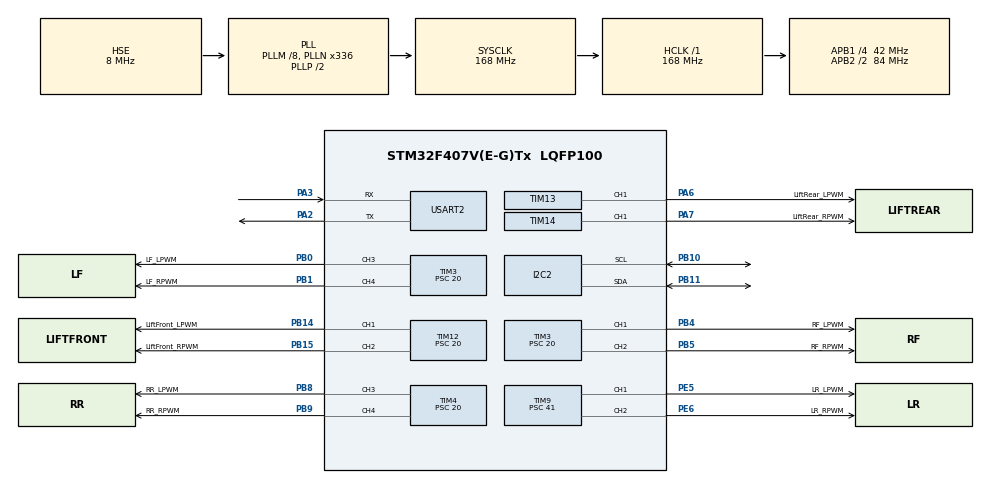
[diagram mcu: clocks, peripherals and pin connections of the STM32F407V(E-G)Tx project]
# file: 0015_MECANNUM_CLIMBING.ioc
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Mcu.Family=STM32F4
Mcu.Name=STM32F407V(E-G)Tx
Mcu.Package=LQFP100
NVIC.PriorityGroup=NVIC_PRIORITYGROUP_0
PA2.Mode=Asynchronous
PA2.Signal=USART2_TX
PA3.Mode=Asynchronous
PA3.Signal=USART2_RX
PA6.GPIO_Label=LiftRear_LPWM
PA6.Signal=S_TIM13_CH1
PA7.GPIO_Label=LiftRear_RPWM
PA7.Signal=S_TIM14_CH1
PB0.GPIO_Label=LF_LPWM
PB0.Signal=S_TIM3_CH3
PB1.GPIO_Label=LF_RPWM
PB1.Signal=S_TIM3_CH4
PB10.GPIO_Pu=GPIO_PULLUP
PB10.Mode=I2C
PB10.Signal=I2C2_SCL
PB11.GPIO_Pu=GPIO_PULLUP
PB11.Mode=I2C
PB11.Signal=I2C2_SDA
PB14.GPIO_Label=LiftFront_LPWM
PB14.Signal=S_TIM12_CH1
PB15.GPIO_Label=LiftFront_RPWM
PB15.Signal=S_TIM12_CH2
PB4.GPIO_Label=RF_LPWM
PB4.Signal=S_TIM3_CH1
PB5.GPIO_Label=RF_RPWM
PB5.Signal=S_TIM3_CH2
PB8.GPIO_Label=RR_LPWM
PB8.Signal=S_TIM4_CH3
PB9.GPIO_Label=RR_RPWM
PB9.Signal=S_TIM4_CH4
PE5.GPIO_Label=LR_LPWM
PE5.Signal=S_TIM9_CH1
PE6.GPIO_Label=LR_RPWM
PE6.Signal=S_TIM9_CH2
ProjectManager.HeapSize=0x200
ProjectManager.StackSize=0x400
ProjectManager.TargetToolchain=STM32CubeIDE
RCC.48MHZClocksFreq_Value=48000000
RCC.AHBFreq_Value=168000000
RCC.APB1CLKDivider=RCC_HCLK_DIV4
RCC.APB1Freq_Value=42000000
RCC.APB1TimFreq_Value=84000000
RCC.APB2CLKDivider=RCC_HCLK_DIV2
RCC.APB2Freq_Value=84000000
RCC.APB2TimFreq_Value=168000000
RCC.CortexFreq_Value=168000000
RCC.HCLKFreq_Value=168000000
RCC.HSE_VALUE=8000000
RCC.HSI_VALUE=16000000
RCC.LSE_VALUE=32768
RCC.PLLM=8
RCC.PLLN=336
RCC.PLLQ=7
RCC.PLLSourceVirtual=RCC_PLLSOURCE_HSE
RCC.SYSCLKFreq_VALUE=168000000
RCC.SYSCLKSource=RCC_SYSCLKSOURCE_PLLCLK
RCC.VCOOutputFreq_Value=336000000
SH.S_TIM12_CH1.0=TIM12_CH1,PWM Generation1 CH1
SH.S_TIM12_CH2.0=TIM12_CH2,PWM Generation2 CH2
SH.S_TIM13_CH1.0=TIM13_CH1,PWM Generation1 CH1
SH.S_TIM14_CH1.0=TIM14_CH1,PWM Generation1 CH1
SH.S_TIM3_CH1.0=TIM3_CH1,PWM Generation1 CH1
SH.S_TIM3_CH2.0=TIM3_CH2,PWM Generation2 CH2
SH.S_TIM3_CH3.0=TIM3_CH3,PWM Generation3 CH3
SH.S_TIM3_CH4.0=TIM3_CH4,PWM Generation4 CH4
SH.S_TIM4_CH3.0=TIM4_CH3,PWM Generation3 CH3
SH.S_TIM4_CH4.0=TIM4_CH4,PWM Generation4 CH4
SH.S_TIM9_CH1.0=TIM9_CH1,PWM Generation1 CH1
SH.S_TIM9_CH2.0=TIM9_CH2,PWM Generation2 CH2
TIM12.Channel-PWM\ Generation1\ CH1=TIM_CHANNEL_1
TIM12.Channel-PWM\ Generation2\ CH2=TIM_CHANNEL_2
TIM12.Period=99
TIM12.Prescaler=20
TIM13.Channel=TIM_CHANNEL_1
TIM13.Period=99
TIM13.Prescaler=20
TIM14.Channel=TIM_CHANNEL_1
TIM14.Period=99
TIM14.Prescaler=20
TIM3.Channel-PWM\ Generation1\ CH1=TIM_CHANNEL_1
TIM3.Channel-PWM\ Generation2\ CH2=TIM_CHANNEL_2
TIM3.Channel-PWM\ Generation3\ CH3=TIM_CHANNEL_3
TIM3.Channel-PWM\ Generation4\ CH4=TIM_CHANNEL_4
TIM3.Period=99
TIM3.Prescaler=20
TIM4.Channel-PWM\ Generation3\ CH3=TIM_CHANNEL_3
TIM4.Channel-PWM\ Generation4\ CH4=TIM_CHANNEL_4
TIM4.Period=99
TIM4.Prescaler=20
TIM9.Channel-PWM\ Generation1\ CH1=TIM_CHANNEL_1
TIM9.Channel-PWM\ Generation2\ CH2=TIM_CHANNEL_2
TIM9.Period=99
TIM9.Prescaler=41
USART2.VirtualMode=VM_ASYNC
VP_TIM13_VS_ClockSourceINT.Mode=Enable_Timer
VP_TIM14_VS_ClockSourceINT.Mode=Enable_Timer
board=STM32F407G-DISC1

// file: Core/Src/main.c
/* USER CODE BEGIN Header */
/**
  ******************************************************************************
  * @file           : main.c
  * @brief          : Main program body
  ******************************************************************************
  * @attention
  *
  * Copyright (c) 2026 STMicroelectronics.
  * All rights reserved.
  *
  * This software is licensed under terms that can be found in the LICENSE file
  * in the root directory of this software component.
  * If no LICENSE file comes with this software, it is provided AS-IS.
  *
  ******************************************************************************
  */
/* USER CODE END Header */
#include "main.h"

/* USER CODE BEGIN Includes */
#include <stdlib.h>
#include <stdbool.h>
#include <string.h>
#include <stdio.h>
#include <math.h>

/* USER CODE END Includes */

/* USER CODE BEGIN PD */
#define CHASSIS_PWM 50
#define CLIMBING_PWM 50
#define STOP_PWM 0
#define maxPWM 60
/* USER CODE END PD */

I2C_HandleTypeDef hi2c2;

TIM_HandleTypeDef htim3;
TIM_HandleTypeDef htim4;
TIM_HandleTypeDef htim9;
TIM_HandleTypeDef htim12;
TIM_HandleTypeDef htim13;
TIM_HandleTypeDef htim14;

UART_HandleTypeDef huart2;

/* USER CODE BEGIN PV */

// MOTOR VARIABLES FOR CCR REGISTERS
volatile uint32_t *const LF_LPWM_REG = &(TIM3->CCR3);
volatile uint32_t *const LF_RPWM_REG = &(TIM3->CCR4);

volatile uint32_t *const RF_LPWM_REG = &(TIM3->CCR2);
volatile uint32_t *const RF_RPWM_REG = &(TIM3->CCR1);

volatile uint32_t *const LR_LPWM_REG = &(TIM9->CCR1);
volatile uint32_t *const LR_RPWM_REG = &(TIM9->CCR2);

volatile uint32_t *const RR_LPWM_REG = &(TIM4->CCR3);
volatile uint32_t *const RR_RPWM_REG = &(TIM4->CCR4);

volatile uint32_t *const upFront_LPWM_REG = &(TIM12->CCR1);
volatile uint32_t *const upFront_RPWM_REG = &(TIM12->CCR2);

volatile uint32_t *const upRear_LPWM_REG = &(TIM13->CCR1);
volatile uint32_t *const upRear_RPWM_REG = &(TIM14->CCR1);

// MOTOR VARIABLES FOR TIMER CHANNELS
#define LF_LPWM 3
#define LF_RPWM 4
#define RF_LPWM 2
#define RF_RPWM 1
#define LR_LPWM 1
#define LR_RPWM 2
#define RR_LPWM 3
#define RR_RPWM 4

#define upFront_LPWM 1
#define upFront_RPWM 2
#define upRear_LPWM  1
#define upRear_RPWM  1

// DATA VARIABLES
#define buffer 10
#define arraySize 5
#define slaveAddr 0x08
uint8_t receivedData[arraySize] = { 0 }; //LX LY L2 R2 Button (LB, LF, LR, DB, 0, 0, 0, 0)
int8_t lx = 0, ly = 0;
uint8_t l2 = 0, r2 = 0;

// NAVIGATION VARIABLES
#define constVector 1
int16_t wLF = 0, wRF = 0, wLR = 0, wRR = 0;
int16_t Vx = 0, Vy = 0;
int16_t VxG = 0, VyG = 0;
int16_t omega = 0;

// CLIMBING VARIABLES
bool upBoth  = false;
bool upFront = false;
bool upRear  = false;
bool downBoth  = false;
bool downFront = false;
bool downRear  = false;

//typedef enum{
//	climbStop = 0,
//	climbUpBoth,
//	climbUpFront,
//	climbUpRear,
//	climbDownBoth,
//	climbDownFront,
//	climbDownRear
//}limbingState_t;

// PID
//float currentTime = 0;
//float previousTime = 0;
//float error = 0;
//float previousError = 0;
//float derivative = 0;
//float kp = 4;
//float kd = 0;
//float PID = 0;
//int targetAngle = 0;
/* USER CODE END PV */

void SystemClock_Config(void);
static void MX_GPIO_Init(void);
static void MX_TIM3_Init(void);
static void MX_TIM4_Init(void);
static void MX_I2C2_Init(void);
static void MX_TIM9_Init(void);
static void MX_TIM12_Init(void);
static void MX_TIM13_Init(void);
static void MX_TIM14_Init(void);
static void MX_USART2_UART_Init(void);

/* USER CODE BEGIN 0 */

// PRINT-PS FUNCTION
void printPS(){
    char bufferMsg[50];
    // Format: "LX: 10, LY: -5, L2: 0, R2: 0, Btn: 128\r\n"
    int len = sprintf(bufferMsg, "LX:%d  LY:%d L2:%d  R2:%d  BTN:%d\r\n",
                      receivedData[0], receivedData[1], receivedData[2],
                      receivedData[3], receivedData[4]);
    HAL_UART_Transmit(&huart2, (uint8_t*)bufferMsg, len, HAL_MAX_DELAY);
}

// CONSTRAIN FUNCTION
int constrain(int val, int min, int max){
	if(val >= max)			return max;
	else if (val <= min) 	return min;
	else 				    return val;
}

// MAP FUNCTION
long map(long val, long oldMin, long oldMax, long newMin, long newMax){
	return (val - oldMin) * (newMax  - newMin) / (oldMax - oldMin) + newMin;
}

// COMM-MAP
void reMapComm(){
	receivedData[0] = map(receivedData[0], 0, 255, -127, 127);
	receivedData[1] = map(receivedData[1], 0, 255, -127, 127);
	receivedData[2] = receivedData[2];
	receivedData[3] = receivedData[3];
}

// ROTATE FUNCTIONS
void LFRotate(int PWM){
	if(PWM < 0){
		*LF_LPWM_REG = abs(PWM);
		*LF_RPWM_REG = 0;
	}else if(PWM > 0){
		*LF_LPWM_REG = 0;
		*LF_RPWM_REG = abs(PWM);
	}else{
		*LF_LPWM_REG = 0;
		*LF_RPWM_REG = 0;
	}
}

void RFRotate(int PWM){
	if(PWM < 0){
		*RF_LPWM_REG = abs(PWM);
		*RF_RPWM_REG = 0;
	}else if(PWM > 0){
		*RF_LPWM_REG = 0;
		*RF_RPWM_REG = abs(PWM);
	}else{
		*RF_LPWM_REG = 0;
		*RF_RPWM_REG = 0;
	}
}

void LRRotate(int PWM){
	if(PWM < 0){
		*LR_LPWM_REG = abs(PWM);
		*LR_RPWM_REG = 0;
	}else if(PWM > 0){
		*LR_LPWM_REG = 0;
		*LR_RPWM_REG = abs(PWM);
	}else{
		*LR_LPWM_REG = 0;
		*LR_RPWM_REG = 0;
	}
}

void RRRotate(int PWM){
	if(PWM < 0){
		*RR_LPWM_REG = abs(PWM);
		*RR_RPWM_REG = 0;
	}else if(PWM > 0){
		*RR_LPWM_REG = 0;
		*RR_RPWM_REG = abs(PWM);
	}else{
		*RR_LPWM_REG = 0;
		*RR_RPWM_REG = 0;
	}
}

// CLIMBING FUNCTIONS
void climbFrontMotor(int PWM){
	if(PWM < 0){
		*upFront_LPWM_REG = abs(PWM);
		*upFront_RPWM_REG = 0;
	}else if(PWM > 0){
		*upFront_LPWM_REG = 0;
		*upFront_RPWM_REG = abs(PWM);
	}else{
		*upFront_LPWM_REG = 0;
		*upFront_RPWM_REG = 0;
	}
}

void climbRearMotor(int PWM){
	if(PWM < 0){
		*upRear_LPWM_REG = abs(PWM);
		*upRear_RPWM_REG = 0;
	}else if(PWM > 0){
		*upRear_LPWM_REG = 0;
		*upRear_RPWM_REG = abs(PWM);
	}else{
		*upRear_LPWM_REG = 0;
		*upRear_RPWM_REG = 0;
	}
}

void upBothMotor(int PWM){
	climbFrontMotor(PWM);
	climbRearMotor(PWM);
}

// PID CONTROL FUNCTION
//float PIDControl(int error) {
//  currentTime = millis();
//  int deltaT = (currentTime - previousTime);
//  if (deltaT <= 0) {
//    deltaT = 1;
//  }
//  derivative = (error - previousError) / (deltaT);
//  PID = kp * error + kd * derivative;
//  previousError = error;
//  previousTime = currentTime;
//  PID = constrain(PID, -maxPWM, maxPWM);
//  if (abs(PID) <= 1) {
//    PID = 0;
//  }
//  return PID;
//}

/* USER CODE END 0 */

int main(void)
{

  /* MCU Configuration--------------------------------------------------------*/

  /* Reset of all peripherals, Initializes the Flash interface and the Systick. */
  HAL_Init();

  /* Configure the system clock */
  SystemClock_Config();

  /* Initialize all configured peripherals */
  MX_GPIO_Init();
  MX_TIM3_Init();
  MX_TIM4_Init();
  MX_I2C2_Init();
  MX_TIM9_Init();
  MX_TIM12_Init();
  MX_TIM13_Init();
  MX_TIM14_Init();
  MX_USART2_UART_Init();
  /* USER CODE BEGIN 2 */

  // TIMER-3 Enable
  HAL_TIM_PWM_Start(&htim3, LF_LPWM);
  HAL_TIM_PWM_Start(&htim3, LF_RPWM);
  HAL_TIM_PWM_Start(&htim3, RF_LPWM);
  HAL_TIM_PWM_Start(&htim3, RF_RPWM);

  // TIMER-4 Enable
  HAL_TIM_PWM_Start(&htim4, RR_LPWM);
  HAL_TIM_PWM_Start(&htim4, RR_RPWM);

  // TIMER-9 Enable
  HAL_TIM_PWM_Start(&htim9, LR_LPWM);
  HAL_TIM_PWM_Start(&htim9, LR_RPWM);

  // TIMER-12 Enable
  HAL_TIM_PWM_Start(&htim12, upFront_LPWM);
  HAL_TIM_PWM_Start(&htim12, upFront_RPWM);

  // TIMER-13 Enable
  HAL_TIM_PWM_Start(&htim13, upRear_LPWM);
  // TIMER-14 Enable
  HAL_TIM_PWM_Start(&htim14, upRear_RPWM);

//  TIM3 -> CCR1 = CHASSIS_PWM;	//RF_RPWM
//  TIM3 -> CCR2 = CHASSIS_PWM;	//RF_LWPM
//  TIM3 -> CCR3 = CHASSIS_PWM;	//LF_LPWM
//  TIM3 -> CCR4 = CHASSIS_PWM;	//LF_RPWM
//
//  TIM4 -> CCR3 = CHASSIS_PWM;	//RR_LPWM
//  TIM4 -> CCR4 = CHASSIS_PWM;	//RR_RPWM
//
//  TIM9 -> CCR1 = CHASSIS_PWM;	//LR_LPWM
//  TIM9 -> CCR2 = CHASSIS_PWM;	//LR_RPWM
//
//  TIM12 -> CCR1 = CLIMBING_PWM;	//upFront_LPWM
//  TIM12 -> CCR2 = CLIMBING_PWM;	//upFront_RPWM
//
//  TIM13 -> CCR1 = CLIMBING_PWM;	//upRear_LPWM
//  TIM14 -> CCR1 = CLIMBING_PWM;	//upRear_RPWM

  /* USER CODE END 2 */

  /* Infinite loop */
  while (1){

    /* USER CODE BEGIN 3 */
//	  currentAngle = 0;
	  wLF = 0;
	  wRF = 0;
	  wLR = 0;
	  wRR = 0;
	  Vx = 0, Vy = 0;
	  omega = 0;
	  upBoth = upFront = upRear = downBoth = downFront = downRear = false;

	  // COMMUNICATION
	  HAL_StatusTypeDef readStatus = HAL_I2C_Master_Receive(&hi2c2, slaveAddr << 1, receivedData, sizeof(receivedData), HAL_MAX_DELAY);

	  if(HAL_OK == readStatus){
		  	  reMapComm();

		  	  Vy = receivedData[0];  //Y-Component of the Joy stick is the X component of the Chassis
		  	  Vx = receivedData[1];
		  	  omega = receivedData[2] - receivedData[3];

		  	  upBoth    = (receivedData[4] & 0b10000000) ? 1 : 0;
		  	  upFront   = (receivedData[4] & 0b01000000) ? 1 : 0;
		  	  upRear    = (receivedData[4] & 0b00100000) ? 1 : 0;
		  	  downBoth  = (receivedData[4] & 0b00010000) ? 1 : 0;
		  	  downFront = (receivedData[4] & 0b00001000) ? 1 : 0;
		  	  downRear  = (receivedData[4] & 0b00000100) ? 1 : 0;

		  	  VxG = Vx;
		  	  VyG = Vy;

		  	  // GLOBAL-CONTROL
		  //	  VxG = Vx * cos(-theta) - Vy * sin(-theta);  // Local X
		  //	  VyG = Vx * sin(-theta) + Vy * cos(-theta);  // Local Y

		  	  wLF = constrain(constVector * (VxG + VyG - omega), -maxPWM, maxPWM);
		  	  wRF = constrain(constVector * (VxG - VyG + omega), -maxPWM, maxPWM);
		  	  wLR = constrain(constVector * (VxG - VyG - omega), -maxPWM, maxPWM);
		  	  wRR = constrain(constVector * (VxG + VyG + omega), -maxPWM, maxPWM);

		  	  LFRotate(wLF);
		  	  RFRotate(wRF);
		  	  LRRotate(wLR);
		  	  RRRotate(wRR);

		  	  if(upFront){
		  		  climbFrontMotor(CLIMBING_PWM);
		  		  climbRearMotor(STOP_PWM);
		  	  }
		  	  else if(upRear){
		  		  climbFrontMotor(STOP_PWM);
		  		  climbRearMotor(CLIMBING_PWM);
		  	  }
		  	  else if(upBoth){
		  		  climbFrontMotor(CLIMBING_PWM);
		  	  	  climbRearMotor(CLIMBING_PWM);
		  	  }
		  	  else if(downBoth){
		  		  climbFrontMotor(-CLIMBING_PWM);
		  		  climbRearMotor(-CLIMBING_PWM);
		  	  }
		  	  else if(downFront){
		  		  climbFrontMotor(-CLIMBING_PWM);
		  		  climbRearMotor(STOP_PWM);
		  	  }
		  	  else if(downRear){
		  		  climbFrontMotor(STOP_PWM);
		  		  climbRearMotor(-CLIMBING_PWM);
		  	  }
		  	  else{
		  		  climbFrontMotor(STOP_PWM);
		  		  climbRearMotor(STOP_PWM);
		  	  }

		  	 printPS();
	  }
	  else{
		  HAL_I2C_DeInit(&hi2c2);
		  HAL_Delay(10);
		  HAL_I2C_Init(&hi2c2);
		  HAL_StatusTypeDef readRetryStatus = HAL_I2C_Master_Receive(&hi2c2, slaveAddr << 1, receivedData, sizeof(receivedData), HAL_MAX_DELAY);

		  if(HAL_OK == readRetryStatus){
			  reMapComm();
			  char statusMsg[50];
			      // Format: "LX: 10, LY: -5, L2: 0, R2: 0, Btn: 128\r\n"
			  int statusLen = sprintf(statusMsg, "I2C Reinitialized! \r\n");
			  HAL_UART_Transmit(&huart2, (uint8_t*)statusMsg, statusLen, HAL_MAX_DELAY);
		  }
		  else{
			  uint32_t statusError = HAL_I2C_GetError(&hi2c2);
			  printf("I2C Error: %lu\r\n", statusError);

			  HAL_I2C_DeInit(&hi2c2);
			  HAL_Delay(5);
			  HAL_I2C_Init(&hi2c2);
		  }

	  }

  }
  /* USER CODE END 3 */
}

void SystemClock_Config(void)
{
  RCC_OscInitTypeDef RCC_OscInitStruct = {0};
  RCC_ClkInitTypeDef RCC_ClkInitStruct = {0};

  /** Configure the main internal regulator output voltage
  */
  __HAL_RCC_PWR_CLK_ENABLE();
  __HAL_PWR_VOLTAGESCALING_CONFIG(PWR_REGULATOR_VOLTAGE_SCALE1);

  /** Initializes the RCC Oscillators according to the specified parameters
  * in the RCC_OscInitTypeDef structure.
  */
  RCC_OscInitStruct.OscillatorType = RCC_OSCILLATORTYPE_HSE;
  RCC_OscInitStruct.HSEState = RCC_HSE_OFF;
  RCC_OscInitStruct.PLL.PLLState = RCC_PLL_ON;
  RCC_OscInitStruct.PLL.PLLSource = RCC_PLLSOURCE_HSE;
  RCC_OscInitStruct.PLL.PLLM = 8;
  RCC_OscInitStruct.PLL.PLLN = 336;
  RCC_OscInitStruct.PLL.PLLP = RCC_PLLP_DIV2;
  RCC_OscInitStruct.PLL.PLLQ = 7;
  if (HAL_RCC_OscConfig(&RCC_OscInitStruct) != HAL_OK)
  {
    Error_Handler();
  }

  /** Initializes the CPU, AHB and APB buses clocks
  */
  RCC_ClkInitStruct.ClockType = RCC_CLOCKTYPE_HCLK|RCC_CLOCKTYPE_SYSCLK
                              |RCC_CLOCKTYPE_PCLK1|RCC_CLOCKTYPE_PCLK2;
  RCC_ClkInitStruct.SYSCLKSource = RCC_SYSCLKSOURCE_PLLCLK;
  RCC_ClkInitStruct.AHBCLKDivider = RCC_SYSCLK_DIV1;
  RCC_ClkInitStruct.APB1CLKDivider = RCC_HCLK_DIV4;
  RCC_ClkInitStruct.APB2CLKDivider = RCC_HCLK_DIV2;

  if (HAL_RCC_ClockConfig(&RCC_ClkInitStruct, FLASH_LATENCY_5) != HAL_OK)
  {
    Error_Handler();
  }
}

static void MX_I2C2_Init(void)
{

  hi2c2.Instance = I2C2;
  hi2c2.Init.ClockSpeed = 100000;
  hi2c2.Init.DutyCycle = I2C_DUTYCYCLE_2;
  hi2c2.Init.OwnAddress1 = 0;
  hi2c2.Init.AddressingMode = I2C_ADDRESSINGMODE_7BIT;
  hi2c2.Init.DualAddressMode = I2C_DUALADDRESS_DISABLE;
  hi2c2.Init.OwnAddress2 = 0;
  hi2c2.Init.GeneralCallMode = I2C_GENERALCALL_DISABLE;
  hi2c2.Init.NoStretchMode = I2C_NOSTRETCH_DISABLE;
  if (HAL_I2C_Init(&hi2c2) != HAL_OK)
  {
    Error_Handler();
  }

}

static void MX_TIM3_Init(void)
{

  TIM_MasterConfigTypeDef sMasterConfig = {0};
  TIM_OC_InitTypeDef sConfigOC = {0};

  htim3.Instance = TIM3;
  htim3.Init.Prescaler = 20;
  htim3.Init.CounterMode = TIM_COUNTERMODE_UP;
  htim3.Init.Period = 99;
  htim3.Init.ClockDivision = TIM_CLOCKDIVISION_DIV1;
  htim3.Init.AutoReloadPreload = TIM_AUTORELOAD_PRELOAD_DISABLE;
  if (HAL_TIM_PWM_Init(&htim3) != HAL_OK)
  {
    Error_Handler();
  }
  sMasterConfig.MasterOutputTrigger = TIM_TRGO_RESET;
  sMasterConfig.MasterSlaveMode = TIM_MASTERSLAVEMODE_DISABLE;
  if (HAL_TIMEx_MasterConfigSynchronization(&htim3, &sMasterConfig) != HAL_OK)
  {
    Error_Handler();
  }
  sConfigOC.OCMode = TIM_OCMODE_PWM1;
  sConfigOC.Pulse = 0;
  sConfigOC.OCPolarity = TIM_OCPOLARITY_HIGH;
  sConfigOC.OCFastMode = TIM_OCFAST_DISABLE;
  if (HAL_TIM_PWM_ConfigChannel(&htim3, &sConfigOC, TIM_CHANNEL_1) != HAL_OK)
  {
    Error_Handler();
  }
  if (HAL_TIM_PWM_ConfigChannel(&htim3, &sConfigOC, TIM_CHANNEL_2) != HAL_OK)
  {
    Error_Handler();
  }
  if (HAL_TIM_PWM_ConfigChannel(&htim3, &sConfigOC, TIM_CHANNEL_3) != HAL_OK)
  {
    Error_Handler();
  }
  if (HAL_TIM_PWM_ConfigChannel(&htim3, &sConfigOC, TIM_CHANNEL_4) != HAL_OK)
  {
    Error_Handler();
  }
  HAL_TIM_MspPostInit(&htim3);

}

static void MX_TIM4_Init(void)
{

  TIM_MasterConfigTypeDef sMasterConfig = {0};
  TIM_OC_InitTypeDef sConfigOC = {0};

  htim4.Instance = TIM4;
  htim4.Init.Prescaler = 20;
  htim4.Init.CounterMode = TIM_COUNTERMODE_UP;
  htim4.Init.Period = 99;
  htim4.Init.ClockDivision = TIM_CLOCKDIVISION_DIV1;
  htim4.Init.AutoReloadPreload = TIM_AUTORELOAD_PRELOAD_DISABLE;
  if (HAL_TIM_PWM_Init(&htim4) != HAL_OK)
  {
    Error_Handler();
  }
  sMasterConfig.MasterOutputTrigger = TIM_TRGO_RESET;
  sMasterConfig.MasterSlaveMode = TIM_MASTERSLAVEMODE_DISABLE;
  if (HAL_TIMEx_MasterConfigSynchronization(&htim4, &sMasterConfig) != HAL_OK)
  {
    Error_Handler();
  }
  sConfigOC.OCMode = TIM_OCMODE_PWM1;
  sConfigOC.Pulse = 0;
  sConfigOC.OCPolarity = TIM_OCPOLARITY_HIGH;
  sConfigOC.OCFastMode = TIM_OCFAST_DISABLE;
  if (HAL_TIM_PWM_ConfigChannel(&htim4, &sConfigOC, TIM_CHANNEL_3) != HAL_OK)
  {
    Error_Handler();
  }
  if (HAL_TIM_PWM_ConfigChannel(&htim4, &sConfigOC, TIM_CHANNEL_4) != HAL_OK)
  {
    Error_Handler();
  }
  HAL_TIM_MspPostInit(&htim4);

}

static void MX_TIM9_Init(void)
{

  TIM_OC_InitTypeDef sConfigOC = {0};

  htim9.Instance = TIM9;
  htim9.Init.Prescaler = 20;
  htim9.Init.CounterMode = TIM_COUNTERMODE_UP;
  htim9.Init.Period = 99;
  htim9.Init.ClockDivision = TIM_CLOCKDIVISION_DIV1;
  htim9.Init.AutoReloadPreload = TIM_AUTORELOAD_PRELOAD_DISABLE;
  if (HAL_TIM_PWM_Init(&htim9) != HAL_OK)
  {
    Error_Handler();
  }
  sConfigOC.OCMode = TIM_OCMODE_PWM1;
  sConfigOC.Pulse = 0;
  sConfigOC.OCPolarity = TIM_OCPOLARITY_HIGH;
  sConfigOC.OCFastMode = TIM_OCFAST_DISABLE;
  if (HAL_TIM_PWM_ConfigChannel(&htim9, &sConfigOC, TIM_CHANNEL_1) != HAL_OK)
  {
    Error_Handler();
  }
  if (HAL_TIM_PWM_ConfigChannel(&htim9, &sConfigOC, TIM_CHANNEL_2) != HAL_OK)
  {
    Error_Handler();
  }
  HAL_TIM_MspPostInit(&htim9);

}

static void MX_TIM12_Init(void)
{

  TIM_OC_InitTypeDef sConfigOC = {0};

  htim12.Instance = TIM12;
  htim12.Init.Prescaler = 20;
  htim12.Init.CounterMode = TIM_COUNTERMODE_UP;
  htim12.Init.Period = 99;
  htim12.Init.ClockDivision = TIM_CLOCKDIVISION_DIV1;
  htim12.Init.AutoReloadPreload = TIM_AUTORELOAD_PRELOAD_DISABLE;
  if (HAL_TIM_PWM_Init(&htim12) != HAL_OK)
  {
    Error_Handler();
  }
  sConfigOC.OCMode = TIM_OCMODE_PWM1;
  sConfigOC.Pulse = 0;
  sConfigOC.OCPolarity = TIM_OCPOLARITY_HIGH;
  sConfigOC.OCFastMode = TIM_OCFAST_DISABLE;
  if (HAL_TIM_PWM_ConfigChannel(&htim12, &sConfigOC, TIM_CHANNEL_1) != HAL_OK)
  {
    Error_Handler();
  }
  if (HAL_TIM_PWM_ConfigChannel(&htim12, &sConfigOC, TIM_CHANNEL_2) != HAL_OK)
  {
    Error_Handler();
  }
  HAL_TIM_MspPostInit(&htim12);

}

static void MX_TIM13_Init(void)
{

  TIM_OC_InitTypeDef sConfigOC = {0};

  htim13.Instance = TIM13;
  htim13.Init.Prescaler = 20;
  htim13.Init.CounterMode = TIM_COUNTERMODE_UP;
  htim13.Init.Period = 99;
  htim13.Init.ClockDivision = TIM_CLOCKDIVISION_DIV1;
  htim13.Init.AutoReloadPreload = TIM_AUTORELOAD_PRELOAD_DISABLE;
  if (HAL_TIM_Base_Init(&htim13) != HAL_OK)
  {
    Error_Handler();
  }
  if (HAL_TIM_PWM_Init(&htim13) != HAL_OK)
  {
    Error_Handler();
  }
  sConfigOC.OCMode = TIM_OCMODE_PWM1;
  sConfigOC.Pulse = 0;
  sConfigOC.OCPolarity = TIM_OCPOLARITY_HIGH;
  sConfigOC.OCFastMode = TIM_OCFAST_DISABLE;
  if (HAL_TIM_PWM_ConfigChannel(&htim13, &sConfigOC, TIM_CHANNEL_1) != HAL_OK)
  {
    Error_Handler();
  }
  HAL_TIM_MspPostInit(&htim13);

}

static void MX_TIM14_Init(void)
{

  TIM_OC_InitTypeDef sConfigOC = {0};

  htim14.Instance = TIM14;
  htim14.Init.Prescaler = 20;
  htim14.Init.CounterMode = TIM_COUNTERMODE_UP;
  htim14.Init.Period = 99;
  htim14.Init.ClockDivision = TIM_CLOCKDIVISION_DIV1;
  htim14.Init.AutoReloadPreload = TIM_AUTORELOAD_PRELOAD_DISABLE;
  if (HAL_TIM_Base_Init(&htim14) != HAL_OK)
  {
    Error_Handler();
  }
  if (HAL_TIM_PWM_Init(&htim14) != HAL_OK)
  {
    Error_Handler();
  }
  sConfigOC.OCMode = TIM_OCMODE_PWM1;
  sConfigOC.Pulse = 0;
  sConfigOC.OCPolarity = TIM_OCPOLARITY_HIGH;
  sConfigOC.OCFastMode = TIM_OCFAST_DISABLE;
  if (HAL_TIM_PWM_ConfigChannel(&htim14, &sConfigOC, TIM_CHANNEL_1) != HAL_OK)
  {
    Error_Handler();
  }
  HAL_TIM_MspPostInit(&htim14);

}

static void MX_USART2_UART_Init(void)
{

  huart2.Instance = USART2;
  huart2.Init.BaudRate = 115200;
  huart2.Init.WordLength = UART_WORDLENGTH_8B;
  huart2.Init.StopBits = UART_STOPBITS_1;
  huart2.Init.Parity = UART_PARITY_NONE;
  huart2.Init.Mode = UART_MODE_TX_RX;
  huart2.Init.HwFlowCtl = UART_HWCONTROL_NONE;
  huart2.Init.OverSampling = UART_OVERSAMPLING_16;
  if (HAL_UART_Init(&huart2) != HAL_OK)
  {
    Error_Handler();
  }

}

static void MX_GPIO_Init(void)
{

  /* GPIO Ports Clock Enable */
  __HAL_RCC_GPIOE_CLK_ENABLE();
  __HAL_RCC_GPIOA_CLK_ENABLE();
  __HAL_RCC_GPIOB_CLK_ENABLE();

}

void Error_Handler(void)
{
  __disable_irq();
  while (1)
  {
  }
}
